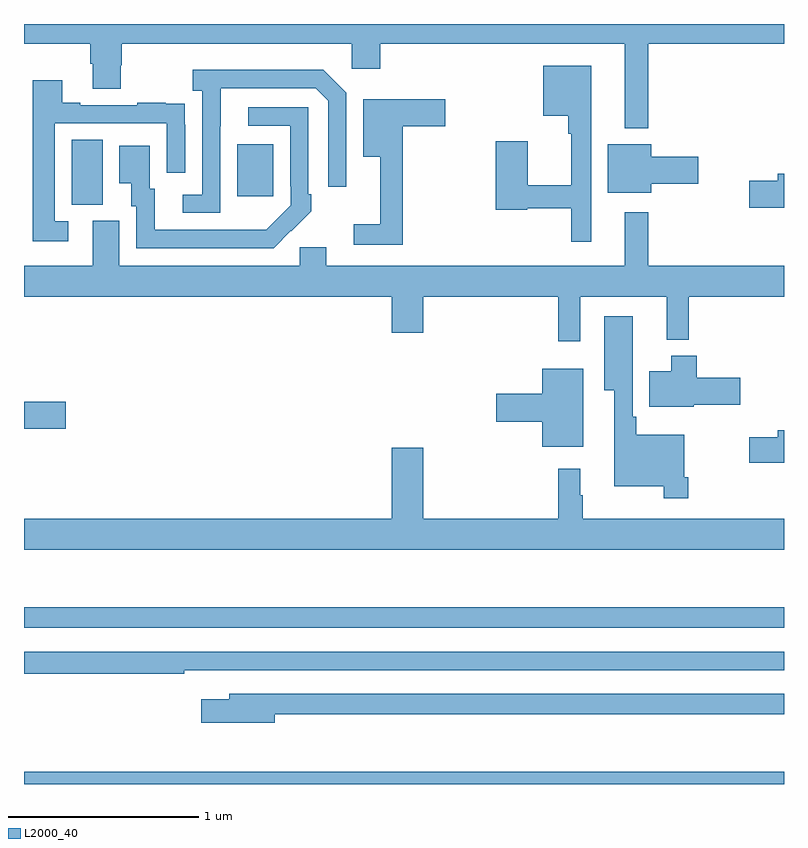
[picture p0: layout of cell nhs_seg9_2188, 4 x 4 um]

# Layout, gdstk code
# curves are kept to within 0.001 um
import gdstk
lib = gdstk.Library(unit=1e-6, precision=1e-09)
def R(c, l, rs):  # rectangles x0, y0, x1, y1
    for r in rs: c.add(gdstk.rectangle(r[:2], r[2:], *l))
def P(c, l, *ps):  # polygons
    for p in ps: c.add(gdstk.Polygon(p, *l))
L2000_40 = (2000, 40)

nhs_seg9_2188 = lib.new_cell('nhs_seg9_2188')
R(nhs_seg9_2188, L2000_40, [(235,1216.5,239,1216.564), (235,1217.322,239,1217.431), (235,1218.37,235.219,1218.512), (235.25,1219.549,235.414,1219.892), (236.123,1219.593,236.311,1219.867)])
P(nhs_seg9_2188, L2000_40, [(238.285,1220.396),(239,1220.396),(239,1220.5),(235,1220.5),(235,1220.396),(235.349,1220.396),(235.349,1220.29),(235.361,1220.29),(235.361,1220.158),(235.509,1220.158),(235.509,1220.283),(235.514,1220.283),(235.514,1220.396),(236.724,1220.396),(236.724,1220.265),(236.876,1220.265),(236.876,1220.396),(238.163,1220.396),(238.163,1219.952),(238.285,1219.952)],
  [(237.985,1220.281),(237.734,1220.281),(237.734,1220.018),(237.864,1220.018),(237.864,1219.922),(237.881,1219.922),(237.881,1219.651),(237.652,1219.651),(237.652,1219.882),(237.482,1219.882),(237.482,1219.522),(237.648,1219.522),(237.648,1219.53),(237.881,1219.53),(237.881,1219.353),(237.985,1219.353)],
  [(236.034,1219.963),(236.035,1220.163),(236.535,1220.163),(236.601,1220.097),(236.601,1219.644),(236.697,1219.644),(236.697,1220.139),(236.576,1220.26),(235.887,1220.26),(235.887,1220.15),(235.938,1220.15),(235.938,1219.602),(235.836,1219.602),(235.836,1219.506),(236.034,1219.506)],
  [(235.234,1219.461),(235.161,1219.461),(235.161,1219.977),(235.752,1219.977),(235.752,1219.716),(235.848,1219.716),(235.848,1219.97),(235.847,1219.97),(235.847,1220.079),(235.745,1220.079),(235.745,1220.086),(235.597,1220.086),(235.597,1220.073),(235.297,1220.073),(235.297,1220.086),(235.201,1220.086),(235.201,1220.203),(235.045,1220.203),(235.045,1219.356),(235.234,1219.356)],
  [(236.993,1219.961),(237.217,1219.961),(237.217,1220.103),(236.786,1220.103),(236.786,1219.802),(236.876,1219.802),(236.876,1219.447),(236.736,1219.447),(236.736,1219.338),(236.993,1219.338)],
  [(236.405,1219.411),(236.406,1219.41),(236.511,1219.515),(236.511,1219.603),(236.496,1219.603),(236.496,1220.061),(236.181,1220.061),(236.181,1219.965),(236.4,1219.965),(236.4,1219.645),(236.403,1219.645),(236.403,1219.545),(236.275,1219.417),(235.687,1219.416),(235.687,1219.632),(235.663,1219.632),(235.663,1219.858),(235.502,1219.858),(235.502,1219.661),(235.565,1219.661),(235.565,1219.542),(235.59,1219.542),(235.59,1219.32),(236.314,1219.32)],
  [(238.3,1219.66),(238.549,1219.66),(238.549,1219.802),(238.3,1219.802),(238.3,1219.867),(238.073,1219.867),(238.073,1219.613),(238.3,1219.613)],
  [(239,1219.712),(238.967,1219.712),(238.967,1219.676),(238.818,1219.676),(238.818,1219.534),(239,1219.534)],
  [(238.285,1219.51),(238.163,1219.51),(238.163,1219.228),(236.59,1219.228),(236.59,1219.326),(236.451,1219.326),(236.451,1219.228),(235.501,1219.228),(235.501,1219.464),(235.361,1219.464),(235.361,1219.228),(235,1219.228),(235,1219.064),(236.936,1219.064),(236.936,1218.876),(237.1,1218.876),(237.1,1219.064),(237.811,1219.064),(237.811,1218.831),(237.927,1218.831),(237.927,1219.064),(238.382,1219.064),(238.382,1218.839),(238.499,1218.839),(238.499,1219.064),(239,1219.064),(239,1219.228),(238.285,1219.228)],
  [(238.496,1218.115),(238.476,1218.115),(238.476,1218.337),(238.223,1218.337),(238.223,1218.433),(238.204,1218.433),(238.204,1218.961),(238.055,1218.961),(238.055,1218.572),(238.106,1218.572),(238.106,1218.068),(238.368,1218.068),(238.368,1218.003),(238.496,1218.003)],
  [(238.524,1218.497),(238.771,1218.497),(238.771,1218.639),(238.541,1218.639),(238.541,1218.754),(238.406,1218.754),(238.406,1218.673),(238.292,1218.673),(238.292,1218.485),(238.524,1218.485)],
  [(237.943,1218.685),(237.728,1218.685),(237.728,1218.554),(237.486,1218.554),(237.486,1218.407),(237.728,1218.407),(237.728,1218.275),(237.943,1218.275)],
  [(239,1218.362),(238.967,1218.362),(238.967,1218.326),(238.818,1218.326),(238.818,1218.191),(239,1218.191)],
  [(239,1217.896),(237.94,1217.896),(237.94,1218.02),(237.928,1218.02),(237.928,1218.16),(237.811,1218.16),(237.811,1217.896),(237.1,1217.896),(237.1,1218.271),(236.936,1218.271),(236.936,1217.896),(235,1217.896),(235,1217.732),(239,1217.732)],
  [(235.844,1217.1),(239,1217.1),(239,1217.196),(235,1217.196),(235,1217.08),(235.844,1217.08)],
  [(236.32,1216.866),(239,1216.866),(239,1216.974),(236.081,1216.974),(236.081,1216.945),(235.932,1216.945),(235.932,1216.823),(236.32,1216.823)])

lib.write_gds('nhs_seg9_2188.gds')
